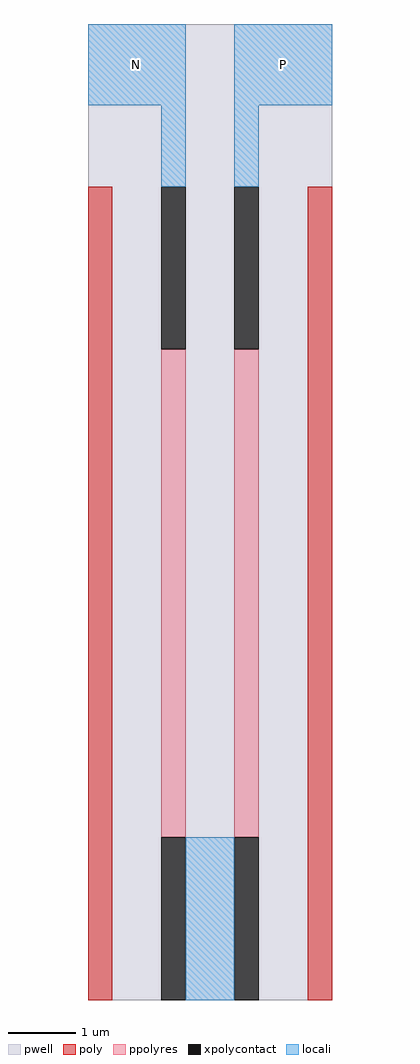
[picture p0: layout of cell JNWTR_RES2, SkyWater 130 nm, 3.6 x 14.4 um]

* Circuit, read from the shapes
.subckt JNWTR_RES2 N P
XR1 N n1 VSUBS sky130_fd_pr__res_high_po w=0.36 l=7.2
XR2 P n1 VSUBS sky130_fd_pr__res_high_po w=0.36 l=7.2
.ends

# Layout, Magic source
magic
tech sky130A
<< pwell >>
rect -18 -60 342 1380
<< poly >>
rect -18 -60 18 1140
rect 306 -60 342 1140
<< xpolycontact >>
rect 90 900 126 1140
rect 90 -60 126 180
rect 198 900 234 1140
rect 198 -60 234 180
<< ppolyres >>
rect 90 180 126 900
rect 198 180 234 900
<< locali >>
rect -18 1260 126 1380
rect 90 1140 126 1260
rect 198 1260 342 1380
rect 198 1140 234 1260
rect 126 -60 198 180
<< labels >>
flabel locali s -18 1260 126 1380 0 FreeSans 400 0 0 0 N
port 1 nsew signal bidirectional
flabel locali s 198 1260 342 1380 0 FreeSans 400 0 0 0 P
port 2 nsew signal bidirectional
<< properties >>
string FIXED_BBOX 0 0 324 1320
<< end >>
